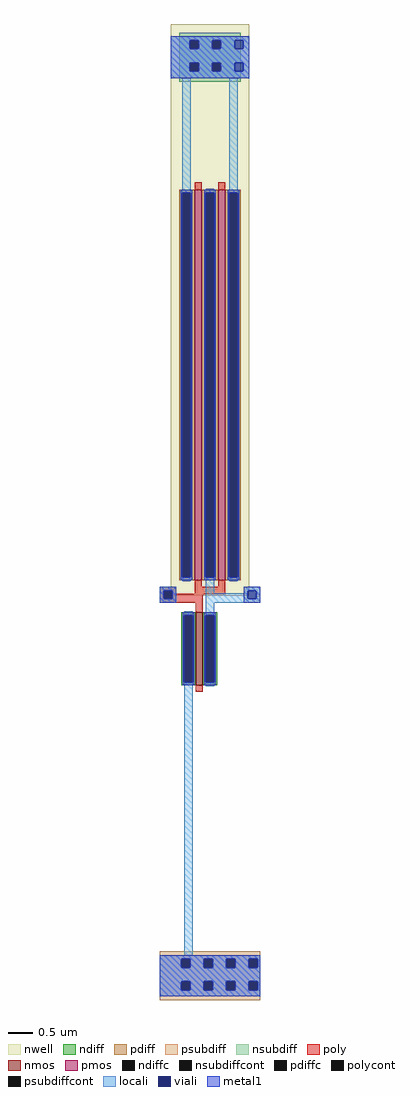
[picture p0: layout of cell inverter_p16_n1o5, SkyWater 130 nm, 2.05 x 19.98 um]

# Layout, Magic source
magic
tech sky130A
magscale 1 2
<< nwell >>
rect -44 2116 278 2734
rect 4 2110 38 2116
rect 196 2110 230 2116
rect -44 2108 278 2110
rect 4 2060 38 2108
rect 196 2060 230 2108
rect 306 388 322 402
<< psubdiff >>
rect -88 -1094 322 -1062
rect -88 -1130 0 -1094
rect 36 -1130 92 -1094
rect 128 -1130 184 -1094
rect 220 -1130 276 -1094
rect 312 -1130 322 -1094
rect -88 -1186 322 -1130
rect -88 -1222 0 -1186
rect 36 -1222 92 -1186
rect 128 -1222 184 -1186
rect 220 -1222 276 -1186
rect 312 -1222 322 -1186
rect -88 -1262 322 -1222
<< nsubdiff >>
rect -8 2668 242 2698
rect -8 2632 34 2668
rect 70 2632 126 2668
rect 162 2632 242 2668
rect -8 2576 242 2632
rect -8 2540 34 2576
rect 70 2540 126 2576
rect 162 2540 242 2576
rect -8 2498 242 2540
<< psubdiffcont >>
rect 0 -1130 36 -1094
rect 92 -1130 128 -1094
rect 184 -1130 220 -1094
rect 276 -1130 312 -1094
rect 0 -1222 36 -1186
rect 92 -1222 128 -1186
rect 184 -1222 220 -1186
rect 276 -1222 312 -1186
<< nsubdiffcont >>
rect 34 2632 70 2668
rect 126 2632 162 2668
rect 34 2540 70 2576
rect 126 2540 162 2576
<< poly >>
rect -88 414 -22 430
rect -88 380 -72 414
rect -38 402 -22 414
rect -38 380 88 402
rect -88 364 88 380
rect 58 352 88 364
<< polycont >>
rect -72 380 -38 414
<< locali >>
rect -44 2668 278 2684
rect -44 2632 34 2668
rect 70 2632 126 2668
rect 162 2632 218 2668
rect 254 2632 278 2668
rect -44 2576 278 2632
rect -44 2540 34 2576
rect 70 2540 126 2576
rect 162 2540 218 2576
rect 254 2540 278 2576
rect -44 2512 278 2540
rect 4 2060 38 2512
rect 196 2060 230 2512
rect -88 414 -22 430
rect -88 380 -72 414
rect -38 380 -22 414
rect -88 364 -22 380
rect 100 404 134 452
rect 256 414 322 430
rect 256 404 272 414
rect 100 380 272 404
rect 306 380 322 414
rect 100 364 322 380
rect 100 330 134 364
rect 12 -1078 46 22
rect -88 -1094 322 -1078
rect -88 -1130 0 -1094
rect 36 -1130 92 -1094
rect 128 -1130 184 -1094
rect 220 -1130 276 -1094
rect 312 -1130 322 -1094
rect -88 -1186 322 -1130
rect -88 -1222 0 -1186
rect 36 -1222 92 -1186
rect 128 -1222 184 -1186
rect 220 -1222 276 -1186
rect 312 -1222 322 -1186
rect -88 -1246 322 -1222
<< viali >>
rect 34 2632 70 2668
rect 126 2632 162 2668
rect 218 2632 254 2668
rect 34 2540 70 2576
rect 126 2540 162 2576
rect 218 2540 254 2576
rect -72 380 -38 414
rect 272 380 306 414
rect 0 -1130 36 -1094
rect 92 -1130 128 -1094
rect 184 -1130 220 -1094
rect 276 -1130 312 -1094
rect 0 -1222 36 -1186
rect 92 -1222 128 -1186
rect 184 -1222 220 -1186
rect 276 -1222 312 -1186
<< metal1 >>
rect -44 2668 278 2684
rect -44 2632 34 2668
rect 70 2632 126 2668
rect 162 2632 218 2668
rect 254 2632 278 2668
rect -44 2576 278 2632
rect -44 2540 34 2576
rect 70 2540 126 2576
rect 162 2540 218 2576
rect 254 2540 278 2576
rect -44 2512 278 2540
rect -88 414 -22 430
rect -88 380 -72 414
rect -38 380 -22 414
rect -88 364 -22 380
rect 256 414 322 430
rect 256 380 272 414
rect 306 380 322 414
rect 256 364 322 380
rect -88 -1094 322 -1078
rect -88 -1130 0 -1094
rect 36 -1130 92 -1094
rect 128 -1130 184 -1094
rect 220 -1130 276 -1094
rect 312 -1130 322 -1094
rect -88 -1186 322 -1130
rect -88 -1222 0 -1186
rect 36 -1222 92 -1186
rect 128 -1222 184 -1186
rect 220 -1222 276 -1186
rect 312 -1222 322 -1186
rect -88 -1246 322 -1222
use sky130_fd_pr__nfet_01v8_PZUUQ8  sky130_fd_pr__nfet_01v8_PZUUQ8_0
transform 1 0 73 0 1 176
box -73 -176 73 176
use sky130_fd_pr__pfet_01v8_N885V5  sky130_fd_pr__pfet_01v8_N885V5_0
transform 1 0 117 0 1 1256
box -161 -862 161 862
<< end >>

# cell sky130_fd_pr__nfet_01v8_PZUUQ8: kit device sky130_fd_pr__nfet_01v8, w 1.5 l 0.150 m 1 nf 1 diffcov 100 polycov 100 guard 0 glc 1 grc 1 gtc 1 gbc 1 tbcov 100 rlcov 100 topc 0 botc 0 poverlap 0 doverlap 1 lmin 0.15 wmin 0.42 class mosfet compatible {sky130_fd_pr__nfet_01v8 sky130_fd_pr__nfet_01v8_lvt sky130_fd_bs_flash__special_sonosfet_star sky130_fd_pr__nfet_g5v0d10v5 sky130_fd_pr__nfet_05v0_nvt sky130_fd_pr__nfet_03v3_nvt} full_metal 0 viasrc 100 viadrn 100 viagate 100 viagb 0 viagr 0 viagl 0 viagt 0

# cell sky130_fd_pr__pfet_01v8_N885V5: kit device sky130_fd_pr__pfet_01v8, w 8 l 0.15 m 1 nf 2 diffcov 100 polycov 100 guard 0 glc 1 grc 1 gtc 1 gbc 1 tbcov 100 rlcov 100 topc 0 botc 0 poverlap 0 doverlap 1 lmin 0.15 wmin 0.42 class mosfet compatible {sky130_fd_pr__pfet_01v8 sky130_fd_pr__pfet_01v8_lvt sky130_fd_pr__pfet_01v8_hvt sky130_fd_pr__pfet_g5v0d10v5} full_metal 0 viasrc 100 viadrn 100 viagate 100 viagb 0 viagr 0 viagl 0 viagt 0
